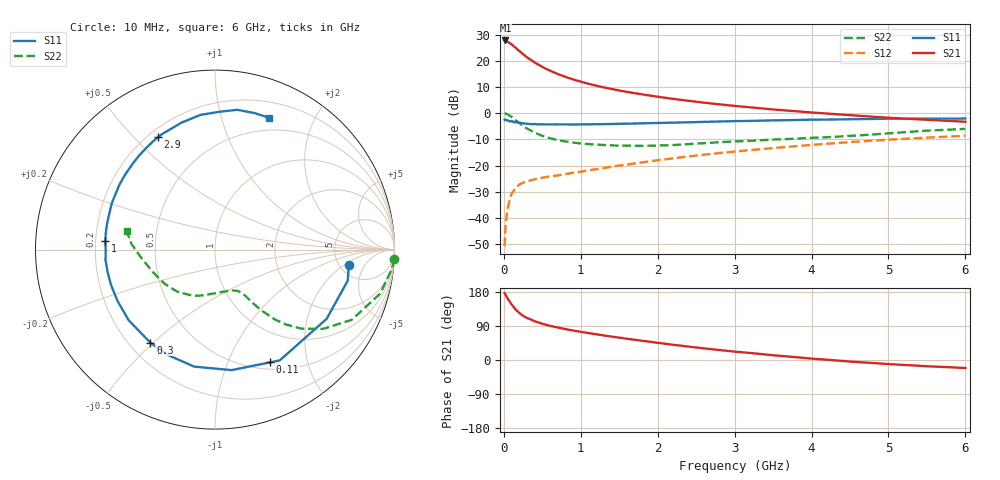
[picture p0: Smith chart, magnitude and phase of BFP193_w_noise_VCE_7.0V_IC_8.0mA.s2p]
! Infineon Technologies  Discrete & RF Semiconductors
! BFP193
! VCE =  7.0 V,  IC =  8.0 mA
! Common Emitter S-Parameters:  Jan 2017
# GHz  S  MA  R  50
!  f  S11  S21  S12  S22
! GHz  MAG  ANG  MAG  ANG  MAG  ANG  MAG  ANG
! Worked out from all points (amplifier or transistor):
!   77 points, 10 MHz to 6 GHz, reference 50 ohm
!   highest |S21| = 27.8 dB at 20 MHz (marker M1)
!   |S21| within 3 dB of that: start of sweep to 161.6 MHz
!   unconditionally stable (mu >= 1): 1.222 GHz to 2.589 GHz
!   at 130 MHz: K = 0.19, MSG = 27.5 dB, |S12| = -29.4 dB
!   at 2.2 GHz: K = 1.04, MAG = 10.1 dB, |S12| = -17.2 dB
!   at 6 GHz: K = 0.85, MSG = 2.7 dB, |S12| = -8.6 dB
!   lowest NFmin = 0.85 dB at 450 MHz
!   S11 on the Smith chart (normalised r, x): 10 MHz: 6.04, -2.38; 110 MHz: 0.58, -1.43; 300 MHz: 0.28, -0.49; 1 GHz: 0.24, +0.04; 2.9 GHz: 0.24, +0.59; 6 GHz: 0.36, +1.43
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0.01  0.7498 -6.6  24.25 176.2  0.0029 91.6  1 -3.0
0.02  0.7597 -13.1  24.57 172.7  0.0064 85.8  0.9917 -6.2
0.05  0.7319 -31.8  23.28 161.9  0.0153 75.8  0.9528 -14.9
0.1  0.7149 -59.7  20.86 146.5  0.0289 64.2  0.8564 -27.2
0.11  0.6991 -64.0  20.21 144.3  0.0305 62.0  0.8328 -28.8
0.15  0.6778 -82.2  18 133.8  0.0372 55.2  0.7462 -36.3
0.2  0.6621 -100.1  15.52 124.4  0.0434 48.8  0.6522 -42.5
0.25  0.6432 -114.2  13.45 116.6  0.0474 44.9  0.574 -46.6
0.3  0.6312 -124.8  11.74 111.0  0.0502 42.6  0.512 -49.4
0.4  0.6216 -140.7  9.335 102.1  0.0547 40.2  0.4258 -52.7
0.5  0.6139 -152.4  7.664 95.6  0.0587 40.0  0.3706 -54.5
0.6  0.6119 -161.2  6.506 90.2  0.0625 40.3  0.3333 -55.8
0.7  0.6113 -168.3  5.624 85.8  0.065 41.3  0.3075 -56.7
1  0.6131 175.5  4.013 74.4  0.0769 44.9  0.2648 -60.9
1.1  0.6158 171.0  3.665 71.1  0.0813 46.1  0.2583 -62.6
1.5  0.6299 156.0  2.722 59.0  0.1002 48.7  0.241 -72.4
2.1  0.6565 136.9  1.974 42.8  0.1323 49.4  0.2443 -91.4
2.9  0.7016 116.9  1.432 24.3  0.1795 45.9  0.2847 -116.3
3.1  0.7108 112.7  1.34 20.4  0.1916 44.4  0.2934 -121.9
4.1  0.7564 94.5  1.012 2.2  0.2552 35.9  0.3439 -149.2
5.1  0.7884 79.5  0.807 -11.9  0.319 25.1  0.4234 -176.0
6  0.7936 67.6  0.689 -21.1  0.3712 14.6  0.5032 168.2
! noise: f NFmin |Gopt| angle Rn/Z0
0.45  0.85  0.21  129  0.09
0.9  0.97  0.36  162  0.07
1.9  1.79  0.58  -148  0.12
2.4  2.19  0.64  -129  0.31
